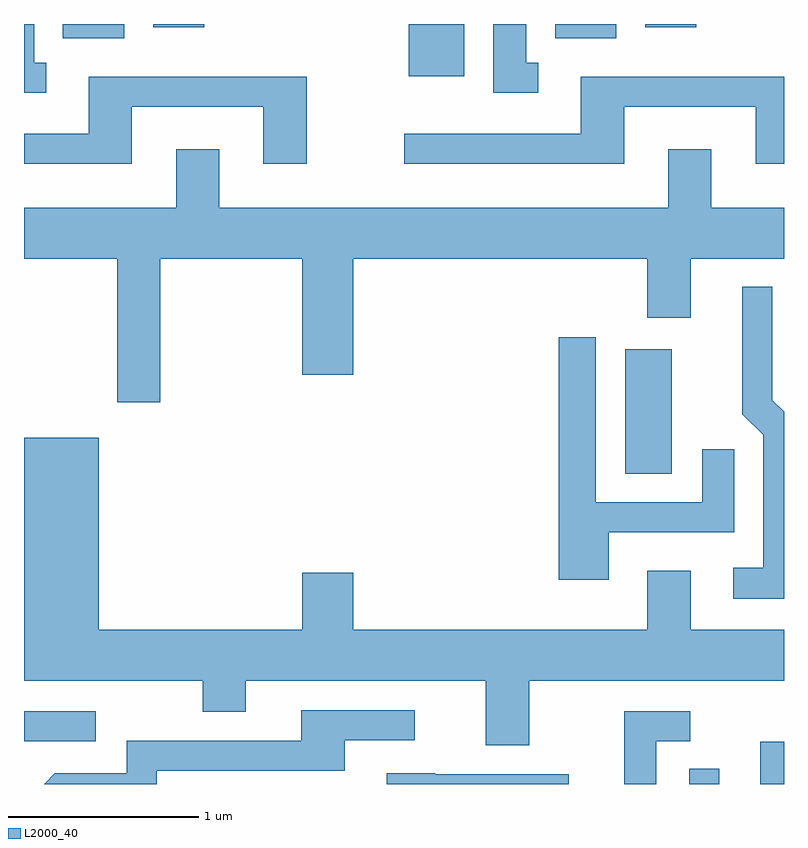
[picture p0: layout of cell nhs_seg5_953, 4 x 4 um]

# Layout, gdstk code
import gdstk
lib = gdstk.Library(unit=1e-6, precision=1e-09)
def R(c, l, rs):  # rectangles x0, y0, x1, y1
    for r in rs: c.add(gdstk.rectangle(r[:2], r[2:], *l))
def P(c, l, *ps):  # polygons
    for p in ps: c.add(gdstk.Polygon(p, *l))
L2000_40 = (2000, 40)

nhs_seg5_953 = lib.new_cell('nhs_seg5_953')
R(nhs_seg5_953, L2000_40, [(217.111,1414.072,217.269,1414.153), (217.486,1414.072,217.611,1414.294), (213.611,1414.296,213.988,1414.454), (216.776,1415.706,217.019,1416.359), (215.636,1417.796,215.929,1418.072), (213.816,1417.996,214.139,1418.072), (216.406,1417.996,216.729,1418.072), (214.291,1418.056,214.559,1418.072), (216.881,1418.056,217.149,1418.072)])
P(nhs_seg5_953, L2000_40, [(213.728,1417.869),(213.664,1417.869),(213.664,1418.072),(213.611,1418.072),(213.611,1417.711),(213.728,1417.711)],
  [(216.318,1417.869),(216.254,1417.869),(216.254,1418.072),(216.081,1418.072),(216.081,1417.711),(216.318,1417.711)],
  [(216.769,1417.636),(217.461,1417.636),(217.461,1417.336),(217.611,1417.336),(217.611,1417.794),(216.541,1417.794),(216.541,1417.494),(215.613,1417.494),(215.613,1417.336),(216.769,1417.336)],
  [(214.179,1417.636),(214.871,1417.636),(214.871,1417.336),(215.099,1417.336),(215.099,1417.794),(213.951,1417.794),(213.951,1417.494),(213.611,1417.494),(213.611,1417.336),(214.179,1417.336)],
  [(214.329,1416.836),(215.076,1416.836),(215.076,1416.226),(215.344,1416.226),(215.344,1416.836),(216.891,1416.836),(216.891,1416.526),(217.119,1416.526),(217.119,1416.836),(217.611,1416.836),(217.611,1417.104),(217.229,1417.104),(217.229,1417.414),(217.001,1417.414),(217.001,1417.104),(214.639,1417.104),(214.639,1417.414),(214.411,1417.414),(214.411,1417.104),(213.611,1417.104),(213.611,1416.836),(214.101,1416.836),(214.101,1416.081),(214.329,1416.081)],
  [(217.611,1416.03),(217.549,1416.092),(217.549,1416.688),(217.391,1416.688),(217.391,1416.019),(217.501,1415.909),(217.501,1415.209),(217.343,1415.209),(217.343,1415.046),(217.611,1415.046)],
  [(216.689,1415.396),(217.349,1415.396),(217.349,1415.833),(217.181,1415.833),(217.181,1415.554),(216.619,1415.554),(216.619,1416.424),(216.426,1416.424),(216.426,1415.146),(216.689,1415.146)],
  [(216.269,1414.616),(217.611,1414.616),(217.611,1414.884),(217.119,1414.884),(217.119,1415.194),(216.891,1415.194),(216.891,1414.884),(215.344,1414.884),(215.344,1415.184),(215.076,1415.184),(215.076,1414.884),(214.004,1414.884),(214.004,1415.894),(213.611,1415.894),(213.611,1414.616),(214.551,1414.616),(214.551,1414.451),(214.779,1414.451),(214.779,1414.616),(216.041,1414.616),(216.041,1414.276),(216.269,1414.276)],
  [(214.309,1414.141),(215.299,1414.141),(215.299,1414.301),(215.668,1414.301),(215.668,1414.459),(215.071,1414.459),(215.071,1414.299),(214.151,1414.299),(214.151,1414.129),(213.774,1414.129),(213.717,1414.072),(214.309,1414.072)],
  [(216.939,1414.296),(217.118,1414.296),(217.118,1414.454),(216.771,1414.454),(216.771,1414.072),(216.939,1414.072)],
  [(216.479,1414.124),(215.775,1414.124),(215.775,1414.129),(215.521,1414.129),(215.521,1414.072),(216.479,1414.072)])

lib.write_gds('nhs_seg5_953.gds')
